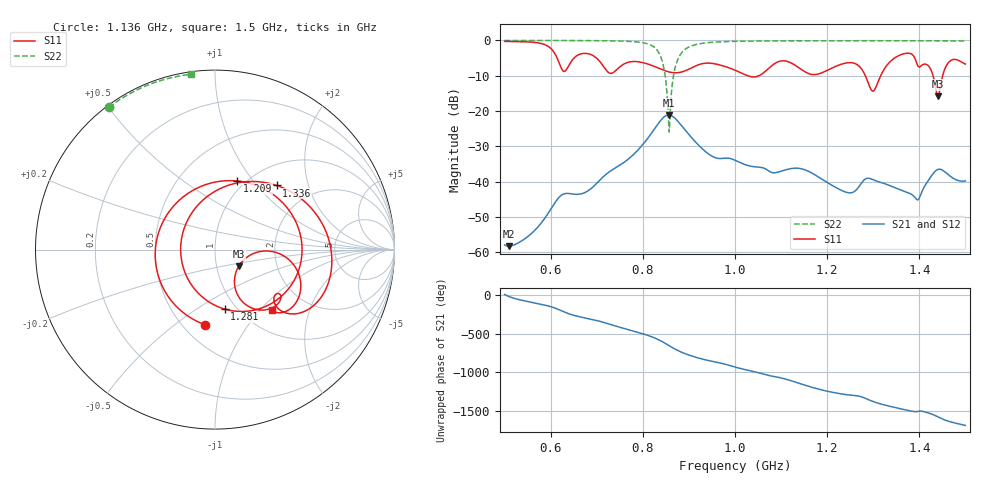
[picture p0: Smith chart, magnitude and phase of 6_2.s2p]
! TOUCHSTONE file generated by CST MICROWAVE STUDIO
! Date and time: Thu Feb 11 19:31:33 2021
! Project name: Scenario_1_Planar_Body_Tissue_Out_of_Line.cst
! Parameters = {L_HA=400; Ltissue=1000; MT=2.54; Rad_Dielectric=30; Rad_Lower=7.3; Rad_Upper=30; Wtissue=1000; a_HA=580; a_WG=246; b_HA=500; b_WG=121; c_HA=0; c_WG=187; d_feed=85; dx1=346; dy1=-259.5; h_feed=15; h_lower=18; h_upper=40; hfat=3; hgap=25; hmuscle=50; hskin=1.5}
! Header version: 2018
! Port assignment regex: !\s*Touchstone port\s*([0-9]+)\s*=\s*(CST MWS port|CST DS port)\s*([0-9]+|Zmin|Zmax)\s*\(\"(.*)\"\)(\s*mode\s*([0-9]+))?.*
! Touchstone port assignment:
! Touchstone port 1 = CST MWS port 1 ("")
! Touchstone port 2 = CST MWS port 2 ("")
# GHz S DB R 50
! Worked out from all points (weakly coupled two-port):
!   1003 points, 500 MHz to 1.5 GHz, reference 50 ohm
!   highest |S21| = -21.09 dB at 856 MHz (marker M1); lowest = -58.2 dB at 509 MHz (marker M2)
!   lowest |S11| = -15.8 dB at 1.44 GHz (marker M3), VSWR 1.38, Z = 63.8 - j12.2 ohm
!   |S11| at or under -10 dB: 1.028 GHz to 1.052 GHz (24.41 MHz wide, 2.35 % of centre); 1.283 GHz to 1.316 GHz (33.26 MHz wide, 2.56 % of centre); 1.43 GHz to 1.451 GHz (20.85 MHz wide, 1.45 % of centre)
!   |S22| runs from -25.9 to 0.0 dB; largest |S21 - S12| = 1e-05
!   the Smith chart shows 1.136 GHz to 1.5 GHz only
!   S11 on the Smith chart (normalised r, x): 1.136 GHz: 0.64, -0.65; 1.209 GHz: 0.92, +0.84; 1.281 GHz: 0.88, -0.66; 1.336 GHz: 1.35, +1.28; 1.5 GHz: 1.36, -1.17
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0.5  -0.27 -121.7  -57.89 6.6  -57.89 6.6  -0.01 151.1
0.509  -0.29 -125.2  -58.25 -18.0  -58.25 -18.0  -0.01 150.6
0.667  -3.77 158.6  -43.40 72.7  -43.40 72.7  -0.04 138.4
0.718  -7.98 25.6  -38.14 -0.3  -38.14 -0.3  -0.09 132.6
0.742  -8.43 -95.2  -35.98 -44.0  -35.98 -44.0  -0.14 128.9
0.771  -6.10 176.4  -33.32 -92.0  -33.32 -92.0  -0.27 122.9
0.834  -7.85 38.0  -23.45 140.6  -23.45 140.6  -3.32 82.3
0.856  -8.89 -19.1  -21.09 66.6  -21.09 66.6  -23.88 -8.9
0.908  -7.62 -178.9  -27.84 -74.6  -27.84 -74.6  -1.44 163.3
0.939  -6.42 84.7  -31.79 -125.3  -31.79 -125.3  -0.66 151.7
1  -8.42 -62.4  -33.93 145.6  -33.93 145.6  -0.26 140.2
1.076  -7.58 75.4  -37.18 32.9  -37.18 32.9  -0.14 131.9
1.103  -5.77 -5.5  -36.91 0.2  -36.91 0.2  -0.12 129.4
1.136  -7.50 -97.8  -36.18 -58.6  -36.18 -58.6  -0.11 126.7
1.167  -9.64 172.3  -37.56 -117.1  -37.56 -117.1  -0.10 124.2
1.209  -7.91 71.9  -40.91 -178.8  -40.91 -178.9  -0.09 120.9
1.281  -9.48 -80.8  -39.40 104.5  -39.40 104.4  -0.08 115.5
1.334  -6.37 49.8  -41.01 -0.2  -41.01 -0.2  -0.08 111.5
1.336  -6.10 46.1  -41.12 -3.1  -41.12 -3.1  -0.09 111.3
1.388  -4.46 -35.8  -44.10 -71.4  -44.10 -71.4  -0.09 107.3
1.44  -15.85 -35.4  -36.54 -139.4  -36.54 -139.4  -0.11 103.1
1.5  -6.68 -46.6  -39.78 107.9  -39.78 107.9  -0.12 97.9
